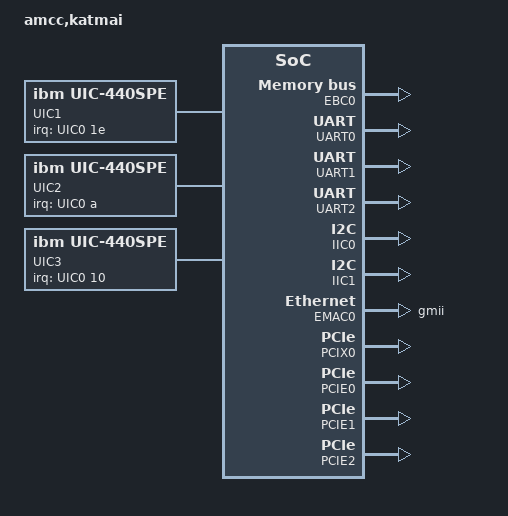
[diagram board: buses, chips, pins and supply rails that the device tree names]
/*
 * Device Tree Source for AMCC Katmai eval board
 *
 * Copyright (c) 2006, 2007 IBM Corp.
 * Benjamin Herrenschmidt <benh@kernel.crashing.org>
 *
 * Copyright (c) 2006, 2007 IBM Corp.
 * Josh Boyer <jwboyer@linux.vnet.ibm.com>
 *
 * This file is licensed under the terms of the GNU General Public
 * License version 2.  This program is licensed "as is" without
 * any warranty of any kind, whether express or implied.
 */

/ {
	#address-cells = <2>;
	#size-cells = <1>;
	model = "amcc,katmai";
	compatible = "amcc,katmai";
	dcr-parent = <&/cpus/cpu@0>;

	aliases {
		ethernet0 = &EMAC0;
		serial0 = &UART0;
		serial1 = &UART1;
		serial2 = &UART2;
	};

	cpus {
		#address-cells = <1>;
		#size-cells = <0>;

		cpu@0 {
			device_type = "cpu";
			model = "PowerPC,440SPe";
			reg = <0>;
			clock-frequency = <0>; /* Filled in by zImage */
			timebase-frequency = <0>; /* Filled in by zImage */
			i-cache-line-size = <20>;
			d-cache-line-size = <20>;
			i-cache-size = <8000>;
			d-cache-size = <8000>;
			dcr-controller;
			dcr-access-method = "native";
		};
	};

	memory {
		device_type = "memory";
		reg = <0 0 0>; /* Filled in by zImage */
	};

	UIC0: interrupt-controller0 {
		compatible = "ibm,uic-440spe","ibm,uic";
		interrupt-controller;
		cell-index = <0>;
		dcr-reg = <0c0 009>;
		#address-cells = <0>;
		#size-cells = <0>;
		#interrupt-cells = <2>;
	};

	UIC1: interrupt-controller1 {
		compatible = "ibm,uic-440spe","ibm,uic";
		interrupt-controller;
		cell-index = <1>;
		dcr-reg = <0d0 009>;
		#address-cells = <0>;
		#size-cells = <0>;
		#interrupt-cells = <2>;
		interrupts = <1e 4 1f 4>; /* cascade */
		interrupt-parent = <&UIC0>;
	};

	UIC2: interrupt-controller2 {
		compatible = "ibm,uic-440spe","ibm,uic";
		interrupt-controller;
		cell-index = <2>;
		dcr-reg = <0e0 009>;
		#address-cells = <0>;
		#size-cells = <0>;
		#interrupt-cells = <2>;
		interrupts = <a 4 b 4>; /* cascade */
		interrupt-parent = <&UIC0>;
	};

	UIC3: interrupt-controller3 {
		compatible = "ibm,uic-440spe","ibm,uic";
		interrupt-controller;
		cell-index = <3>;
		dcr-reg = <0f0 009>;
		#address-cells = <0>;
		#size-cells = <0>;
		#interrupt-cells = <2>;
		interrupts = <10 4 11 4>; /* cascade */
		interrupt-parent = <&UIC0>;
	};

	SDR0: sdr {
		compatible = "ibm,sdr-440spe";
		dcr-reg = <00e 002>;
	};

	CPR0: cpr {
		compatible = "ibm,cpr-440spe";
		dcr-reg = <00c 002>;
	};

	plb {
		compatible = "ibm,plb-440spe", "ibm,plb-440gp", "ibm,plb4";
		#address-cells = <2>;
		#size-cells = <1>;
		ranges;
		clock-frequency = <0>; /* Filled in by zImage */

		SDRAM0: sdram {
			compatible = "ibm,sdram-440spe", "ibm,sdram-405gp";
			dcr-reg = <010 2>;
		};

		MAL0: mcmal {
			compatible = "ibm,mcmal-440spe", "ibm,mcmal2";
			dcr-reg = <180 62>;
			num-tx-chans = <2>;
			num-rx-chans = <1>;
			interrupt-parent = <&MAL0>;
			interrupts = <0 1 2 3 4>;
			#interrupt-cells = <1>;
			#address-cells = <0>;
			#size-cells = <0>;
			interrupt-map = </*TXEOB*/ 0 &UIC1 6 4
					 /*RXEOB*/ 1 &UIC1 7 4
					 /*SERR*/  2 &UIC1 1 4
					 /*TXDE*/  3 &UIC1 2 4
					 /*RXDE*/  4 &UIC1 3 4>;
		};

		POB0: opb {
			compatible = "ibm,opb-440spe", "ibm,opb-440gp", "ibm,opb";
			#address-cells = <1>;
			#size-cells = <1>;
			ranges = <00000000 4 e0000000 20000000>;
			clock-frequency = <0>; /* Filled in by zImage */

			EBC0: ebc {
				compatible = "ibm,ebc-440spe", "ibm,ebc-440gp", "ibm,ebc";
				dcr-reg = <012 2>;
				#address-cells = <2>;
				#size-cells = <1>;
				clock-frequency = <0>; /* Filled in by zImage */
				interrupts = <5 1>;
				interrupt-parent = <&UIC1>;
			};

			UART0: serial@10000200 {
				device_type = "serial";
				compatible = "ns16550";
				reg = <10000200 8>;
				virtual-reg = <a0000200>;
				clock-frequency = <0>; /* Filled in by zImage */
				current-speed = <1c200>;
				interrupt-parent = <&UIC0>;
				interrupts = <0 4>;
			};

			UART1: serial@10000300 {
				device_type = "serial";
				compatible = "ns16550";
				reg = <10000300 8>;
				virtual-reg = <a0000300>;
				clock-frequency = <0>;
				current-speed = <0>;
				interrupt-parent = <&UIC0>;
				interrupts = <1 4>;
			};


			UART2: serial@10000600 {
				device_type = "serial";
				compatible = "ns16550";
				reg = <10000600 8>;
				virtual-reg = <a0000600>;
				clock-frequency = <0>;
				current-speed = <0>;
				interrupt-parent = <&UIC1>;
				interrupts = <5 4>;
			};

			IIC0: i2c@10000400 {
				compatible = "ibm,iic-440spe", "ibm,iic-440gp", "ibm,iic";
				reg = <10000400 14>;
				interrupt-parent = <&UIC0>;
				interrupts = <2 4>;
			};

			IIC1: i2c@10000500 {
				compatible = "ibm,iic-440spe", "ibm,iic-440gp", "ibm,iic";
				reg = <10000500 14>;
				interrupt-parent = <&UIC0>;
				interrupts = <3 4>;
			};

			EMAC0: ethernet@10000800 {
				linux,network-index = <0>;
				device_type = "network";
				compatible = "ibm,emac-440spe", "ibm,emac4";
				interrupt-parent = <&UIC1>;
				interrupts = <1c 4 1d 4>;
				reg = <10000800 70>;
				local-mac-address = [000000000000];
				mal-device = <&MAL0>;
				mal-tx-channel = <0>;
				mal-rx-channel = <0>;
				cell-index = <0>;
				max-frame-size = <2328>;
				rx-fifo-size = <1000>;
				tx-fifo-size = <800>;
				phy-mode = "gmii";
				phy-map = <00000000>;
				has-inverted-stacr-oc;
				has-new-stacr-staopc;
			};
		};

		PCIX0: pci@c0ec00000 {
			device_type = "pci";
			#interrupt-cells = <1>;
			#size-cells = <2>;
			#address-cells = <3>;
			compatible = "ibm,plb-pcix-440spe", "ibm,plb-pcix";
			primary;
			large-inbound-windows;
			enable-msi-hole;
			reg = <c 0ec00000   8	/* Config space access */
			       0 0 0		/* no IACK cycles */
			       c 0ed00000   4   /* Special cycles */
			       c 0ec80000 100	/* Internal registers */
			       c 0ec80100  fc>;	/* Internal messaging registers */

			/* Outbound ranges, one memory and one IO,
			 * later cannot be changed
			 */
			ranges = <02000000 0 80000000 0000000d 80000000 0 80000000
				  01000000 0 00000000 0000000c 08000000 0 00010000>;

			/* Inbound 2GB range starting at 0 */
			dma-ranges = <42000000 0 0 0 0 0 80000000>;

			/* This drives busses 0 to 0xf */
			bus-range = <0 f>;

			/*
			 * On Katmai, the following PCI-X interrupts signals
			 * have to be enabled via jumpers (only INTA is
			 * enabled per default):
			 *
			 * INTB: J3: 1-2
			 * INTC: J2: 1-2
			 * INTD: J1: 1-2
			 */
			interrupt-map-mask = <f800 0 0 7>;
			interrupt-map = <
				/* IDSEL 1 */
				0800 0 0 1 &UIC1 14 8
				0800 0 0 2 &UIC1 13 8
				0800 0 0 3 &UIC1 12 8
				0800 0 0 4 &UIC1 11 8
			>;
		};

		PCIE0: pciex@d00000000 {
			device_type = "pci";
			#interrupt-cells = <1>;
			#size-cells = <2>;
			#address-cells = <3>;
			compatible = "ibm,plb-pciex-440spe", "ibm,plb-pciex";
			primary;
			port = <0>; /* port number */
			reg = <d 00000000 20000000	/* Config space access */
			       c 10000000 00001000>;	/* Registers */
			dcr-reg = <100 020>;
			sdr-base = <300>;

			/* Outbound ranges, one memory and one IO,
			 * later cannot be changed
			 */
			ranges = <02000000 0 80000000 0000000e 00000000 0 80000000
				  01000000 0 00000000 0000000f 80000000 0 00010000>;

			/* Inbound 2GB range starting at 0 */
			dma-ranges = <42000000 0 0 0 0 0 80000000>;

			/* This drives busses 10 to 0x1f */
			bus-range = <10 1f>;

			/* Legacy interrupts (note the weird polarity, the bridge seems
			 * to invert PCIe legacy interrupts).
			 * We are de-swizzling here because the numbers are actually for
			 * port of the root complex virtual P2P bridge. But I want
			 * to avoid putting a node for it in the tree, so the numbers
			 * below are basically de-swizzled numbers.
			 * The real slot is on idsel 0, so the swizzling is 1:1
			 */
			interrupt-map-mask = <0000 0 0 7>;
			interrupt-map = <
				0000 0 0 1 &UIC3 0 4 /* swizzled int A */
				0000 0 0 2 &UIC3 1 4 /* swizzled int B */
				0000 0 0 3 &UIC3 2 4 /* swizzled int C */
				0000 0 0 4 &UIC3 3 4 /* swizzled int D */>;
		};

		PCIE1: pciex@d20000000 {
			device_type = "pci";
			#interrupt-cells = <1>;
			#size-cells = <2>;
			#address-cells = <3>;
			compatible = "ibm,plb-pciex-440spe", "ibm,plb-pciex";
			primary;
			port = <1>; /* port number */
			reg = <d 20000000 20000000	/* Config space access */
			       c 10001000 00001000>;	/* Registers */
			dcr-reg = <120 020>;
			sdr-base = <340>;

			/* Outbound ranges, one memory and one IO,
			 * later cannot be changed
			 */
			ranges = <02000000 0 80000000 0000000e 80000000 0 80000000
				  01000000 0 00000000 0000000f 80010000 0 00010000>;

			/* Inbound 2GB range starting at 0 */
			dma-ranges = <42000000 0 0 0 0 0 80000000>;

			/* This drives busses 10 to 0x1f */
			bus-range = <20 2f>;

			/* Legacy interrupts (note the weird polarity, the bridge seems
			 * to invert PCIe legacy interrupts).
			 * We are de-swizzling here because the numbers are actually for
			 * port of the root complex virtual P2P bridge. But I want
			 * to avoid putting a node for it in the tree, so the numbers
			 * below are basically de-swizzled numbers.
			 * The real slot is on idsel 0, so the swizzling is 1:1
			 */
			interrupt-map-mask = <0000 0 0 7>;
			interrupt-map = <
				0000 0 0 1 &UIC3 4 4 /* swizzled int A */
				0000 0 0 2 &UIC3 5 4 /* swizzled int B */
				0000 0 0 3 &UIC3 6 4 /* swizzled int C */
				0000 0 0 4 &UIC3 7 4 /* swizzled int D */>;
		};

		PCIE2: pciex@d40000000 {
			device_type = "pci";
			#interrupt-cells = <1>;
			#size-cells = <2>;
			#address-cells = <3>;
			compatible = "ibm,plb-pciex-440spe", "ibm,plb-pciex";
			primary;
			port = <2>; /* port number */
			reg = <d 40000000 20000000	/* Config space access */
			       c 10002000 00001000>;	/* Registers */
			dcr-reg = <140 020>;
			sdr-base = <370>;

			/* Outbound ranges, one memory and one IO,
			 * later cannot be changed
			 */
			ranges = <02000000 0 80000000 0000000f 00000000 0 80000000
				  01000000 0 00000000 0000000f 80020000 0 00010000>;

			/* Inbound 2GB range starting at 0 */
			dma-ranges = <42000000 0 0 0 0 0 80000000>;

			/* This drives busses 10 to 0x1f */
			bus-range = <30 3f>;

			/* Legacy interrupts (note the weird polarity, the bridge seems
			 * to invert PCIe legacy interrupts).
			 * We are de-swizzling here because the numbers are actually for
			 * port of the root complex virtual P2P bridge. But I want
			 * to avoid putting a node for it in the tree, so the numbers
			 * below are basically de-swizzled numbers.
			 * The real slot is on idsel 0, so the swizzling is 1:1
			 */
			interrupt-map-mask = <0000 0 0 7>;
			interrupt-map = <
				0000 0 0 1 &UIC3 8 4 /* swizzled int A */
				0000 0 0 2 &UIC3 9 4 /* swizzled int B */
				0000 0 0 3 &UIC3 a 4 /* swizzled int C */
				0000 0 0 4 &UIC3 b 4 /* swizzled int D */>;
		};
	};

	chosen {
		linux,stdout-path = "/plb/opb/serial@10000200";
	};
};
